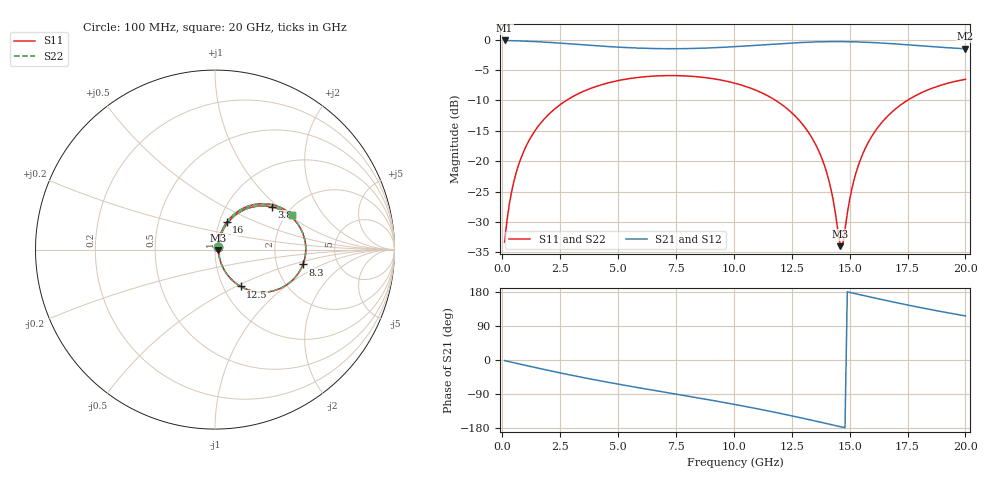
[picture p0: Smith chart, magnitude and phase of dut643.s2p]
! Touchstone file exported from HFSS 2026.1.0
!  File:  C:/ffzhzh/LocalFiles/Ansys_Project_Files/temp_train_TSV_RDL_643_1783128233_46604.aedt
!  Generated:  09:34:17 AM Jul  4, 2026
!  Design:  TSV_RDL
!  Project:  temp_train_TSV_RDL_643_1783128233_46604
! Variables:
!  h_bsmrdl = 3.18um
!  h_ox = 20um
!  h_rdl = 5um
!  h_sub = 86.39um
!  h_tmrdl = 2.9um
!  h_tsv = 86.39um
!  h_via = 3um
!  l_bsmrdl = 863.06um
!  l_sub = 3967.49um
!  l_tmrdl = 206.98um
!  m_sub = 200um
!  pitch = 56.53um
!  r_tsv = 12.04um
!  s_tmrdl = 10um
!  w_bsmrdl = 26.73um
!  w_sub = 500um
!  w_tmrdl = 23.4um
!  x_tsv_center1 = 218.68um
!  x_tsv_center2 = 1108.47um
!  x_tsv_center3 = 1338.85um
!  x_tsv_center4 = 2228.64um
!  x_tsv_center5 = 2459.02um
!  x_tsv_center6 = 3348.81um
# GHz S MA R 50.000000
! Terminal data exported
! Port[1] = TM_RDL1_1_T1
! Port[2] = TM_RDL5_1_T1
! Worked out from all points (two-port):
!   200 points, 100 MHz to 20 GHz, reference 50 ohm
!   highest |S21| = -0.14 dB at 100 MHz (marker M1); lowest = -1.5 dB at 20 GHz (marker M2)
!   |S21| within 3 dB of the highest: start of sweep to end of sweep
!   lowest |S11| = -34.0 dB at 14.6 GHz (marker M3), VSWR 1.04, Z = 52 - j0.479 ohm
!   |S11| at or under -10 dB: start of sweep to 2.77 GHz; 11.8 GHz to 17.49 GHz (5.69 GHz wide, 38.8 % of centre)
!   |S22| runs from -34.2 to -5.9 dB; largest |S21 - S12| = 3.8e-14
!   S11 on the Smith chart (normalised r, x): 100 MHz: 1.03, +0.03; 3.8 GHz: 1.61, +0.91; 8.3 GHz: 2.82, -0.62; 12.5 GHz: 1.21, -0.53; 16 GHz: 1.08, +0.34; 20 GHz: 2.15, +1.07
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0.1  0.02157 39.5  0.9836 -1.5  0.9836 -1.5  0.02157 39.5
! Gamma 0 0 0 0
! Port Impedance 50 0 50 0
0.3  0.04382 62.0  0.9812 -4.4  0.9812 -4.4  0.04383 62.0
0.5  0.06815 67.4  0.9783 -7.2  0.9783 -7.2  0.06815 67.4
1.1  0.1415 66.5  0.969 -15.5  0.969 -15.5  0.1414 66.5
2.1  0.2525 56.3  0.9462 -28.9  0.9462 -28.9  0.2525 56.3
3.5  0.3749 40.3  0.9055 -46.5  0.9055 -46.5  0.3749 40.3
3.8  0.3956 37.0  0.8969 -50.0  0.8969 -50.0  0.3957 37.0
6.8  0.5038 5.5  0.8425 -82.7  0.8425 -82.7  0.5038 5.5
8.3  0.4969 -9.6  0.8459 -98.4  0.8459 -98.4  0.4969 -9.6
10.1  0.435 -28.3  0.8761 -118.0  0.8761 -118.0  0.435 -28.4
12.5  0.2503 -55.1  0.9372 -147.3  0.9372 -147.3  0.2503 -55.2
13.4  0.1523 -64.1  0.9544 -159.4  0.9544 -159.4  0.1523 -64.3
14.1  0.06995 -64.8  0.9613 -169.0  0.9613 -169.0  0.06988 -65.2
14.3  0.04676 -59.2  0.962 -171.8  0.962 -171.8  0.04662 -59.8
14.6  0.01999 -13.3  0.9621 -176.0  0.9621 -176.0  0.01952 -14.0
14.7  0.02047 21.0  0.9618 -177.4  0.9618 -177.4  0.01996 21.3
15  0.04815 63.4  0.96 178.4  0.96 178.4  0.04788 63.9
15.3  0.08317 69.6  0.957 174.3  0.957 174.3  0.08299 69.9
16  0.1649 66.9  0.9454 164.7  0.9454 164.7  0.1647 67.0
16.7  0.2407 59.9  0.9288 155.4  0.9288 155.4  0.2406 60.0
18.1  0.3655 44.4  0.8884 137.8  0.8884 137.8  0.3654 44.4
20  0.4713 24.1  0.8401 116.2  0.8401 116.2  0.4713 24.1
